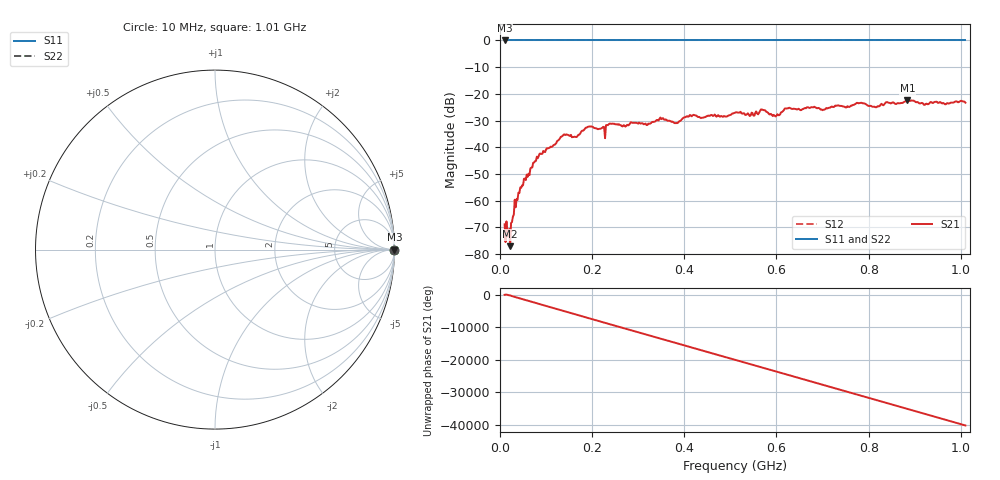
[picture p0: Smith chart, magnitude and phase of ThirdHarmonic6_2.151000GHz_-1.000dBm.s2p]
! 8/17/2025 1:41:14 AM
! C:\ANRITSUVNA\TEMP\TEMP.S2P
! CHANNEL.1
! TR.MEASUREMENT
! RAW.DATA
! RF.CORRECTION.OFF
! AVERAGING.OFF
! IF.BANDWIDTH: 5KHZ
! SWEEPTYPE:  FREQ.SWEEP(Linear)
! Reference Plane Port Info
! PORT:  PORT1  PORT2
! DISTANCE:  0  m  0  m
! TIME:  0  s  0  s
! PHASE.OFFSET:  0  deg.  0  deg.
! LOSS:  0  dB  0  dB
! REF.LOSS:  0  dB  0  dB
! REF.FREQ:  0  Hz  0  Hz
! Power Info
! POWER:  -20  dBm  -20  dBm
! EFF.POWER:  -20  dBm  -20  dBm
! SOURCE.ATTEN:  0  dB  0  dB
! TEST.ATTEN:  0  dB  0  dB
# GHZ S RI R 50.0
! FREQ.GHZ  S11RE  S11IM  S21RE  S21IM  S12RE  S12IM  S22RE  S22IM
!; PortSelection: Port_12
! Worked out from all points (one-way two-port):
!   501 points, 10 MHz to 1.01 GHz, reference 50 ohm
!   highest |S21| = -22.38 dB at 884 MHz (marker M1); lowest = -77.1 dB at 22 MHz (marker M2)
!   lowest |S11| = 0.0 dB at 10 MHz (marker M3)
!   |S11| at or under -10 dB: nowhere
!   |S22| runs from 0.0 to 0.0 dB; largest |S21 - S12| = 1.1
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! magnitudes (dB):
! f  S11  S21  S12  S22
! 10 MHz  0.0  -68.9  0.0  0.0
! 22 MHz  0.0  -77.1  0.0  0.0
! 36 MHz  0.0  -59.4  0.0  0.0
! 44 MHz  0.0  -55.1  0.0  0.0
! 84 MHz  0.0  -43.3  0.0  0.0
! 136 MHz  0.0  -35.7  0.0  0.0
! 164 MHz  0.0  -36.1  0.0  0.0
! 178 MHz  0.0  -33.8  0.0  0.0
! 194 MHz  0.0  -32.2  0.0  0.0
! 224 MHz  0.0  -32.3  0.0  0.0
! 240 MHz  0.0  -31.2  0.0  0.0
! 344 MHz  0.0  -30.0  0.0  0.0
! 382 MHz  0.0  -30.9  0.0  0.0
! 416 MHz  0.0  -28.4  0.0  0.0
! 510 MHz  0.0  -27.1  0.0  0.0
! 570 MHz  0.0  -26.0  0.0  0.0
! 596 MHz  0.0  -28.2  0.0  0.0
! 622 MHz  0.0  -25.5  0.0  0.0
! 678 MHz  0.0  -25.0  0.0  0.0
! 844 MHz  0.0  -23.3  0.0  0.0
! 884 MHz  0.0  -22.4  0.0  0.0
! 1.01 GHz  0.0  -23.3  0.0  0.0
